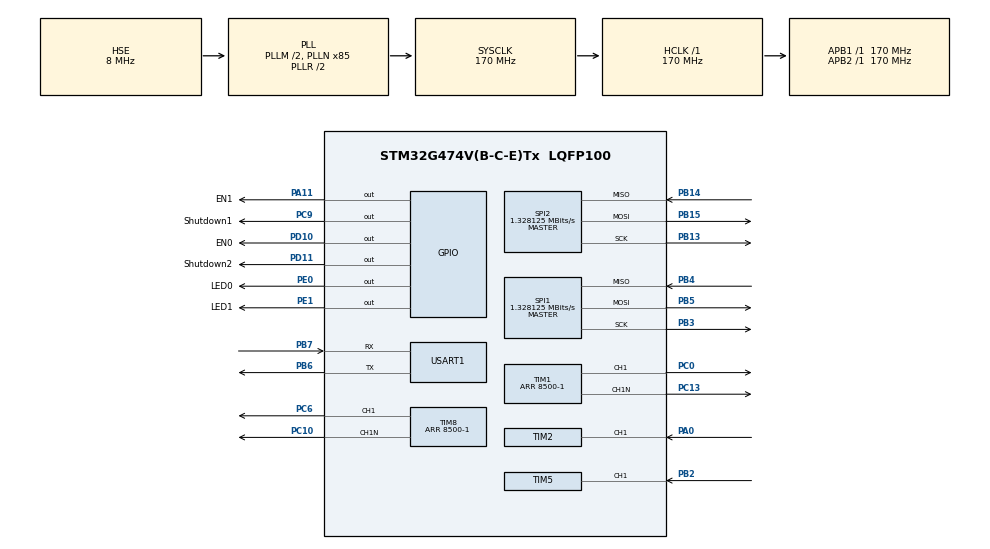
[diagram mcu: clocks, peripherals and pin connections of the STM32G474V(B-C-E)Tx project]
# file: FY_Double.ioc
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Dma.Request0=SPI1_TX
Dma.Request1=SPI1_RX
Dma.Request2=SPI2_TX
Dma.Request3=SPI2_RX
Dma.Request4=USART1_RX
Dma.Request5=USART1_TX
Dma.SPI1_RX.1.Direction=DMA_PERIPH_TO_MEMORY
Dma.SPI1_RX.1.EventEnable=DISABLE
Dma.SPI1_RX.1.Instance=DMA1_Channel2
Dma.SPI1_RX.1.MemDataAlignment=DMA_MDATAALIGN_BYTE
Dma.SPI1_RX.1.MemInc=DMA_MINC_ENABLE
Dma.SPI1_RX.1.Mode=DMA_NORMAL
Dma.SPI1_RX.1.PeriphDataAlignment=DMA_PDATAALIGN_BYTE
Dma.SPI1_RX.1.PeriphInc=DMA_PINC_DISABLE
Dma.SPI1_RX.1.Polarity=HAL_DMAMUX_REQ_GEN_RISING
Dma.SPI1_RX.1.Priority=DMA_PRIORITY_HIGH
Dma.SPI1_RX.1.RequestNumber=1
Dma.SPI1_RX.1.SignalID=NONE
Dma.SPI1_RX.1.SyncEnable=DISABLE
Dma.SPI1_RX.1.SyncPolarity=HAL_DMAMUX_SYNC_NO_EVENT
Dma.SPI1_RX.1.SyncRequestNumber=1
Dma.SPI1_RX.1.SyncSignalID=NONE
Dma.SPI1_TX.0.Direction=DMA_MEMORY_TO_PERIPH
Dma.SPI1_TX.0.EventEnable=DISABLE
Dma.SPI1_TX.0.Instance=DMA1_Channel1
Dma.SPI1_TX.0.MemDataAlignment=DMA_MDATAALIGN_BYTE
Dma.SPI1_TX.0.MemInc=DMA_MINC_ENABLE
Dma.SPI1_TX.0.Mode=DMA_NORMAL
Dma.SPI1_TX.0.PeriphDataAlignment=DMA_PDATAALIGN_BYTE
Dma.SPI1_TX.0.PeriphInc=DMA_PINC_DISABLE
Dma.SPI1_TX.0.Polarity=HAL_DMAMUX_REQ_GEN_RISING
Dma.SPI1_TX.0.Priority=DMA_PRIORITY_HIGH
Dma.SPI1_TX.0.RequestNumber=1
Dma.SPI1_TX.0.SignalID=NONE
Dma.SPI1_TX.0.SyncEnable=DISABLE
Dma.SPI1_TX.0.SyncPolarity=HAL_DMAMUX_SYNC_NO_EVENT
Dma.SPI1_TX.0.SyncRequestNumber=1
Dma.SPI1_TX.0.SyncSignalID=NONE
Dma.SPI2_RX.3.Direction=DMA_PERIPH_TO_MEMORY
Dma.SPI2_RX.3.EventEnable=DISABLE
Dma.SPI2_RX.3.Instance=DMA1_Channel4
Dma.SPI2_RX.3.MemDataAlignment=DMA_MDATAALIGN_BYTE
Dma.SPI2_RX.3.MemInc=DMA_MINC_ENABLE
Dma.SPI2_RX.3.Mode=DMA_NORMAL
Dma.SPI2_RX.3.PeriphDataAlignment=DMA_PDATAALIGN_BYTE
Dma.SPI2_RX.3.PeriphInc=DMA_PINC_DISABLE
Dma.SPI2_RX.3.Polarity=HAL_DMAMUX_REQ_GEN_RISING
Dma.SPI2_RX.3.Priority=DMA_PRIORITY_HIGH
Dma.SPI2_RX.3.RequestNumber=1
Dma.SPI2_RX.3.SignalID=NONE
Dma.SPI2_RX.3.SyncEnable=DISABLE
Dma.SPI2_RX.3.SyncPolarity=HAL_DMAMUX_SYNC_NO_EVENT
Dma.SPI2_RX.3.SyncRequestNumber=1
Dma.SPI2_RX.3.SyncSignalID=NONE
Dma.SPI2_TX.2.Direction=DMA_MEMORY_TO_PERIPH
Dma.SPI2_TX.2.EventEnable=DISABLE
Dma.SPI2_TX.2.Instance=DMA1_Channel3
Dma.SPI2_TX.2.MemDataAlignment=DMA_MDATAALIGN_BYTE
Dma.SPI2_TX.2.MemInc=DMA_MINC_ENABLE
Dma.SPI2_TX.2.Mode=DMA_NORMAL
Dma.SPI2_TX.2.PeriphDataAlignment=DMA_PDATAALIGN_BYTE
Dma.SPI2_TX.2.PeriphInc=DMA_PINC_DISABLE
Dma.SPI2_TX.2.Polarity=HAL_DMAMUX_REQ_GEN_RISING
Dma.SPI2_TX.2.Priority=DMA_PRIORITY_HIGH
Dma.SPI2_TX.2.RequestNumber=1
Dma.SPI2_TX.2.SignalID=NONE
Dma.SPI2_TX.2.SyncEnable=DISABLE
Dma.SPI2_TX.2.SyncPolarity=HAL_DMAMUX_SYNC_NO_EVENT
Dma.SPI2_TX.2.SyncRequestNumber=1
Dma.SPI2_TX.2.SyncSignalID=NONE
Dma.USART1_RX.4.Direction=DMA_PERIPH_TO_MEMORY
Dma.USART1_RX.4.EventEnable=DISABLE
Dma.USART1_RX.4.Instance=DMA1_Channel5
Dma.USART1_RX.4.MemDataAlignment=DMA_MDATAALIGN_BYTE
Dma.USART1_RX.4.MemInc=DMA_MINC_ENABLE
Dma.USART1_RX.4.Mode=DMA_NORMAL
Dma.USART1_RX.4.PeriphDataAlignment=DMA_PDATAALIGN_BYTE
Dma.USART1_RX.4.PeriphInc=DMA_PINC_DISABLE
Dma.USART1_RX.4.Polarity=HAL_DMAMUX_REQ_GEN_RISING
Dma.USART1_RX.4.Priority=DMA_PRIORITY_LOW
Dma.USART1_RX.4.RequestNumber=1
Dma.USART1_RX.4.SignalID=NONE
Dma.USART1_RX.4.SyncEnable=DISABLE
Dma.USART1_RX.4.SyncPolarity=HAL_DMAMUX_SYNC_NO_EVENT
Dma.USART1_RX.4.SyncRequestNumber=1
Dma.USART1_RX.4.SyncSignalID=NONE
Dma.USART1_TX.5.Direction=DMA_MEMORY_TO_PERIPH
Dma.USART1_TX.5.EventEnable=DISABLE
Dma.USART1_TX.5.Instance=DMA1_Channel6
Dma.USART1_TX.5.MemDataAlignment=DMA_MDATAALIGN_BYTE
Dma.USART1_TX.5.MemInc=DMA_MINC_ENABLE
Dma.USART1_TX.5.Mode=DMA_NORMAL
Dma.USART1_TX.5.PeriphDataAlignment=DMA_PDATAALIGN_BYTE
Dma.USART1_TX.5.PeriphInc=DMA_PINC_DISABLE
Dma.USART1_TX.5.Polarity=HAL_DMAMUX_REQ_GEN_RISING
Dma.USART1_TX.5.Priority=DMA_PRIORITY_LOW
Dma.USART1_TX.5.RequestNumber=1
Dma.USART1_TX.5.SignalID=NONE
Dma.USART1_TX.5.SyncEnable=DISABLE
Dma.USART1_TX.5.SyncPolarity=HAL_DMAMUX_SYNC_NO_EVENT
Dma.USART1_TX.5.SyncRequestNumber=1
Dma.USART1_TX.5.SyncSignalID=NONE
Mcu.Family=STM32G4
Mcu.Name=STM32G474V(B-C-E)Tx
Mcu.Package=LQFP100
NVIC.DMA1_Channel1_IRQn=true\:1\:0\:true\:false\:true\:false\:true\:true
NVIC.DMA1_Channel2_IRQn=true\:1\:0\:true\:false\:true\:false\:true\:true
NVIC.DMA1_Channel3_IRQn=true\:1\:0\:true\:false\:true\:false\:true\:true
NVIC.DMA1_Channel4_IRQn=true\:1\:0\:true\:false\:true\:false\:true\:true
NVIC.DMA1_Channel5_IRQn=true\:0\:0\:false\:false\:true\:false\:true\:true
NVIC.DMA1_Channel6_IRQn=true\:0\:0\:false\:false\:true\:false\:true\:true
NVIC.PriorityGroup=NVIC_PRIORITYGROUP_4
NVIC.TIM2_IRQn=true\:0\:0\:true\:false\:true\:true\:true\:true
NVIC.TIM3_IRQn=true\:2\:0\:true\:false\:true\:true\:true\:true
NVIC.TIM5_IRQn=true\:0\:0\:false\:false\:true\:true\:true\:true
NVIC.USART1_IRQn=true\:0\:0\:false\:false\:true\:true\:true\:true
PA0.Signal=S_TIM2_CH1
PA11.GPIO_Label=EN1
PA11.GPIO_Speed=GPIO_SPEED_FREQ_LOW
PA11.PinState=GPIO_PIN_RESET
PA11.Signal=GPIO_Output
PA13.Mode=Serial_Wire
PA13.Signal=SYS_JTMS-SWDIO
PA14.Mode=Serial_Wire
PA14.Signal=SYS_JTCK-SWCLK
PB13.Mode=Full_Duplex_Master
PB13.Signal=SPI2_SCK
PB14.Mode=Full_Duplex_Master
PB14.Signal=SPI2_MISO
PB15.Mode=Full_Duplex_Master
PB15.Signal=SPI2_MOSI
PB2.Signal=S_TIM5_CH1
PB3.GPIO_Speed=GPIO_SPEED_FREQ_LOW
PB3.Mode=Full_Duplex_Master
PB3.Signal=SPI1_SCK
PB4.GPIO_Speed=GPIO_SPEED_FREQ_LOW
PB4.Mode=Full_Duplex_Master
PB4.Signal=SPI1_MISO
PB5.GPIO_Speed=GPIO_SPEED_FREQ_LOW
PB5.Mode=Full_Duplex_Master
PB5.Signal=SPI1_MOSI
PB6.Mode=Asynchronous
PB6.Signal=USART1_TX
PB7.Mode=Asynchronous
PB7.Signal=USART1_RX
PC0.Signal=S_TIM1_CH1
PC10.Mode=PWM Generation1 CH1 CH1N
PC10.Signal=TIM8_CH1N
PC13.Mode=PWM Generation1 CH1 CH1N
PC13.Signal=TIM1_CH1N
PC6.Signal=S_TIM8_CH1
PC9.GPIO_Label=Shutdown1
PC9.Signal=GPIO_Output
PD10.GPIO_Label=EN0
PD10.GPIO_Speed=GPIO_SPEED_FREQ_LOW
PD10.PinState=GPIO_PIN_RESET
PD10.Signal=GPIO_Output
PD11.GPIO_Label=Shutdown2
PD11.Signal=GPIO_Output
PE0.GPIO_Label=LED0
PE0.PinState=GPIO_PIN_SET
PE0.Signal=GPIO_Output
PE1.GPIO_Label=LED1
PE1.PinState=GPIO_PIN_SET
PE1.Signal=GPIO_Output
PF0-OSC_IN.Mode=HSE-External-Oscillator
PF0-OSC_IN.Signal=RCC_OSC_IN
PF1-OSC_OUT.Mode=HSE-External-Oscillator
PF1-OSC_OUT.Signal=RCC_OSC_OUT
ProjectManager.HeapSize=0x200
ProjectManager.StackSize=0x400
ProjectManager.TargetToolchain=CMake
RCC.ADC12Freq_Value=170000000
RCC.ADC345Freq_Value=170000000
RCC.AHBFreq_Value=170000000
RCC.APB1Freq_Value=170000000
RCC.APB1TimFreq_Value=170000000
RCC.APB2Freq_Value=170000000
RCC.APB2TimFreq_Value=170000000
RCC.CortexFreq_Value=170000000
RCC.EXTERNAL_CLOCK_VALUE=12288000
RCC.HCLKFreq_Value=170000000
RCC.HSE_VALUE=8000000
RCC.HSI48_VALUE=48000000
RCC.HSI_VALUE=16000000
RCC.LSE_VALUE=32768
RCC.PLLM=RCC_PLLM_DIV2
RCC.PLLN=85
RCC.PLLSourceVirtual=RCC_PLLSOURCE_HSE
RCC.SYSCLKFreq_VALUE=170000000
RCC.SYSCLKSource=RCC_SYSCLKSOURCE_PLLCLK
RCC.USBFreq_Value=170000000
RCC.VCOOutputFreq_Value=340000000
SH.S_TIM1_CH1.0=TIM1_CH1,PWM Generation1 CH1 CH1N
SH.S_TIM2_CH1.0=TIM2_CH1,Input_Capture1_from_TI1
SH.S_TIM5_CH1.0=TIM5_CH1,Input_Capture1_from_TI1
SH.S_TIM8_CH1.0=TIM8_CH1,PWM Generation1 CH1 CH1N
SPI1.BaudRatePrescaler=SPI_BAUDRATEPRESCALER_128
SPI1.CLKPhase=SPI_PHASE_1EDGE
SPI1.CLKPolarity=SPI_POLARITY_HIGH
SPI1.CalculateBaudRate=1.328125 MBits/s
SPI1.DataSize=SPI_DATASIZE_8BIT
SPI1.Direction=SPI_DIRECTION_2LINES
SPI1.Mode=SPI_MODE_MASTER
SPI1.VirtualType=VM_MASTER
SPI2.BaudRatePrescaler=SPI_BAUDRATEPRESCALER_128
SPI2.CLKPhase=SPI_PHASE_1EDGE
SPI2.CLKPolarity=SPI_POLARITY_HIGH
SPI2.CalculateBaudRate=1.328125 MBits/s
SPI2.DataSize=SPI_DATASIZE_8BIT
SPI2.Direction=SPI_DIRECTION_2LINES
SPI2.Mode=SPI_MODE_MASTER
SPI2.VirtualType=VM_MASTER
TIM1.AutoReloadPreload=TIM_AUTORELOAD_PRELOAD_ENABLE
TIM1.BreakPolarity=TIM_BREAKPOLARITY_HIGH
TIM1.Channel-PWM\ Generation1\ CH1\ CH1N=TIM_CHANNEL_1
TIM1.DeadTime=15
TIM1.OCFastMode_PWM-PWM\ Generation1\ CH1\ CH1N=TIM_OCFAST_DISABLE
TIM1.OCIdleState_1=TIM_OCIDLESTATE_SET
TIM1.OCNIdleState_1=TIM_OCNIDLESTATE_SET
TIM1.OCNPolarity_1=TIM_OCNPOLARITY_LOW
TIM1.OCPolarity_1=TIM_OCPOLARITY_LOW
TIM1.OffStateRunMode=TIM_OSSR_ENABLE
TIM1.PeriodNoDither=8500-1
TIM2.Channel-Input_Capture1_from_TI1=TIM_CHANNEL_1
TIM2.CounterMode=TIM_COUNTERMODE_UP
TIM2.ICPolarity_CH1=TIM_INPUTCHANNELPOLARITY_RISING
TIM3.AutoReloadPreload=TIM_AUTORELOAD_PRELOAD_ENABLE
TIM3.PeriodNoDither=1000-1
TIM3.Prescaler=169
TIM5.Channel-Input_Capture1_from_TI1=TIM_CHANNEL_1
TIM8.AutoReloadPreload=TIM_AUTORELOAD_PRELOAD_ENABLE
TIM8.Channel-PWM\ Generation1\ CH1\ CH1N=TIM_CHANNEL_1
TIM8.DeadTime=0
TIM8.OCIdleState_1=TIM_OCIDLESTATE_RESET
TIM8.OCNIdleState_1=TIM_OCNIDLESTATE_RESET
TIM8.OCNPolarity_1=TIM_OCNPOLARITY_LOW
TIM8.OCPolarity_1=TIM_OCPOLARITY_LOW
TIM8.OffStateRunMode=TIM_OSSR_ENABLE
TIM8.PeriodNoDither=8500-1
USART1.VirtualMode-Asynchronous=VM_ASYNC
VP_SYS_VS_DBSignals.Mode=DisableDeadBatterySignals
VP_TIM1_VS_ClockSourceINT.Mode=Internal
VP_TIM2_VS_ClockSourceINT.Mode=Internal
VP_TIM3_VS_ClockSourceINT.Mode=Internal
VP_TIM5_VS_ClockSourceINT.Mode=Internal
VP_TIM8_VS_ClockSourceINT.Mode=Internal
board=custom

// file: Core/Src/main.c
/* USER CODE BEGIN Header */
/**
  ******************************************************************************
  * @file           : main.c
  * @brief          : Main program body
  ******************************************************************************
  * @attention
  *
  * Copyright (c) 2025 STMicroelectronics.
  * All rights reserved.
  *
  * This software is licensed under terms that can be found in the LICENSE file
  * in the root directory of this software component.
  * If no LICENSE file comes with this software, it is provided AS-IS.
  *
  ******************************************************************************
  */
/* USER CODE END Header */
#include "main.h"
#include "dma.h"
#include "spi.h"
#include "tim.h"
#include "usart.h"
#include "gpio.h"

/* USER CODE BEGIN Includes */
#include <stdlib.h>
#include <string.h>
#include "posUpdate.h"
#include "motor.h"
#include "pid.h"
#include "setpara.h"
#include "sweep.h"
/* USER CODE END Includes */

/* USER CODE BEGIN PTD */
typedef struct {
  float in_prev[3];
  float out_prev[3];
} pid_state_t;
/* USER CODE END PTD */

/* USER CODE BEGIN PV */

// 水平轴（motor_id = 1）
float current_angle_sp = 0.0f;
float current_speed_sp = 0.0f;
float given_sp = 180.0f;
float speed_given_sp = 0.0f;
float position_error_sp = 0.0f;

// 俯仰轴（motor_id = 0）
float current_angle_el = 75.0f;
float current_speed_el = 0.0f;
float given_el = 80.0f;
float speed_given_el = 0.0f;
float position_error_el = 0.0f;

//扫频用
float sweep_speed_set;
float sweep_freq_global = 0.5f;
uint8_t ctrl_mode = 0;

//图像用
int16_t pixel_error = 0;
static uint16_t position_counter = 0;
extern uint8_t g_run_flag;

// 控制器参数（双轴可拆分）
float speed_num[4], speed_den[4];
float pos_num[4], pos_den[4];
float speed_num_el[4], speed_den_el[4];
float pos_num_el[4], pos_den_el[4];

pid_state_t pos_pid_sp = {0}; // 水平轴位置环状态
pid_state_t pos_pid_el = {0}; // 俯仰轴位置环状态
pid_state_t spd_pid_sp = {0}; // 水平轴速度环状态
pid_state_t spd_pid_el = {0}; // 俯仰轴速度环状态
/* USER CODE END PV */

void SystemClock_Config(void);
/* USER CODE BEGIN PFP */
float get_signed_angle_error(float target_angle, float current_angle);
float speed_pid(float speed_error, pid_state_t* state, const float num[4], const float den[4]);
float position_pid(float error, pid_state_t* state, const float num[4], const float den[4]);

/* USER CODE END PFP */

int main(void)
{

  /* MCU Configuration--------------------------------------------------------*/

  /* Reset of all peripherals, Initializes the Flash interface and the Systick. */
  HAL_Init();

  /* Configure the system clock */
  SystemClock_Config();

  /* Initialize all configured peripherals */
  MX_GPIO_Init();
  MX_DMA_Init();
  MX_SPI1_Init();
  MX_USART1_UART_Init();
  MX_TIM1_Init();
  MX_TIM2_Init();
  MX_TIM3_Init();
  MX_TIM8_Init();
  MX_SPI2_Init();
  MX_TIM5_Init();
  /* USER CODE BEGIN 2 */
  motor_init();
  pid_init();
  set_speedpara(speed_num, speed_den);
  set_pospara(pos_num, pos_den);
  set_speedpara_fy(speed_num_el, speed_den_el);
  set_pospara_fy(pos_num_el, pos_den_el);
  HAL_TIM_Base_Start_IT(&htim3);
  HAL_TIM_IC_Start_IT(&htim5, TIM_CHANNEL_1);
  HAL_TIM_IC_Start_IT(&htim2, TIM_CHANNEL_1);
  /* USER CODE END 2 */

  /* Infinite loop */
  while (1)
  {

  }
}

void SystemClock_Config(void)
{
  RCC_OscInitTypeDef RCC_OscInitStruct = {0};
  RCC_ClkInitTypeDef RCC_ClkInitStruct = {0};

  /** Configure the main internal regulator output voltage
  */
  HAL_PWREx_ControlVoltageScaling(PWR_REGULATOR_VOLTAGE_SCALE1_BOOST);

  /** Initializes the RCC Oscillators according to the specified parameters
  * in the RCC_OscInitTypeDef structure.
  */
  RCC_OscInitStruct.OscillatorType = RCC_OSCILLATORTYPE_HSE;
  RCC_OscInitStruct.HSEState = RCC_HSE_ON;
  RCC_OscInitStruct.PLL.PLLState = RCC_PLL_ON;
  RCC_OscInitStruct.PLL.PLLSource = RCC_PLLSOURCE_HSE;
  RCC_OscInitStruct.PLL.PLLM = RCC_PLLM_DIV2;
  RCC_OscInitStruct.PLL.PLLN = 85;
  RCC_OscInitStruct.PLL.PLLP = RCC_PLLP_DIV2;
  RCC_OscInitStruct.PLL.PLLQ = RCC_PLLQ_DIV2;
  RCC_OscInitStruct.PLL.PLLR = RCC_PLLR_DIV2;
  if (HAL_RCC_OscConfig(&RCC_OscInitStruct) != HAL_OK)
  {
    Error_Handler();
  }

  /** Initializes the CPU, AHB and APB buses clocks
  */
  RCC_ClkInitStruct.ClockType = RCC_CLOCKTYPE_HCLK|RCC_CLOCKTYPE_SYSCLK
                              |RCC_CLOCKTYPE_PCLK1|RCC_CLOCKTYPE_PCLK2;
  RCC_ClkInitStruct.SYSCLKSource = RCC_SYSCLKSOURCE_PLLCLK;
  RCC_ClkInitStruct.AHBCLKDivider = RCC_SYSCLK_DIV1;
  RCC_ClkInitStruct.APB1CLKDivider = RCC_HCLK_DIV1;
  RCC_ClkInitStruct.APB2CLKDivider = RCC_HCLK_DIV1;

  if (HAL_RCC_ClockConfig(&RCC_ClkInitStruct, FLASH_LATENCY_4) != HAL_OK)
  {
    Error_Handler();
  }
}

/* USER CODE BEGIN 4 */

/**
  * @brief 获取带符号的角度误差
  * @param target_angle 目标角度
  * @param current_angle 当前角度
  * @return 带符号的角度误差（-180° ~ 180°）
  */
float get_signed_angle_error(const float target_angle, const float current_angle)
{
  float error = target_angle - current_angle;
  while (error > 180.0f) error -= 360.0f;
  while (error < -180.0f) error += 360.0f;
  return error;
}

/**
  * @brief 定时器3周期中断回调函数1000Hz
  *
  * 完成对于转台的所有控制逻辑,通过ctrl_mode切换扫频
  *
  */
void HAL_TIM_PeriodElapsedCallback(TIM_HandleTypeDef *htim)
{
  if (htim->Instance == TIM3) // 1000Hz
  {
    // 获取当前角度
    current_angle_sp = get_pos_x(&current_speed_sp);
    current_angle_el = get_pos_y(&current_speed_el);

    if (ctrl_mode == 0)
    {
      position_counter++;
      if (position_counter >= 20) // 50Hz
      {
        position_counter = 0;
        if (abs(pixel_error) > 5)
        {
          const float correction = 0.002f * (float)pixel_error;
          given_sp += correction;
        }
      }
      // 水平轴控制
      position_error_sp = get_signed_angle_error(given_sp, current_angle_sp);
      speed_given_sp = position_pid(position_error_sp,&pos_pid_sp, pos_num, pos_den);
      const float pidOut_sp = speed_pid((speed_given_sp - current_speed_sp), &spd_pid_sp, speed_num, speed_den);
      motor_pwm_set(1, pidOut_sp); // motor_id=1: 水平
      // 俯仰轴控制
      position_error_el = get_signed_angle_error(given_el, current_angle_el);
      speed_given_el = position_pid(position_error_el, &pos_pid_el, pos_num, pos_den);
      const float pidOut_el = speed_pid((speed_given_el - current_speed_el), &spd_pid_el, speed_num_el, speed_den_el);
      motor_pwm_set(0, pidOut_el); // motor_id=0: 俯仰
    }

    if (ctrl_mode == 1)
    {
      sweep_function(0, sweep_freq_global, 20.0f, 2000,
                    30);
    }
  }
}

/**
  * @brief 位置环PID控制器
  * @param error 输入误差
  * @param state PID状态结构体
  * @param num 传递函数分子系数
  * @param den 传递函数分母系数
  * @return PID输出值
  */
float position_pid(const float error, pid_state_t* state, const float num[4], const float den[4])
{
  const float in = error;
  const float out =
      num[0] * in +
      num[1] * state->in_prev[0] +
      num[2] * state->in_prev[1] +
      num[3] * state->in_prev[2] +
      den[1] * state->out_prev[0] +
      den[2] * state->out_prev[1] +
      den[3] * state->out_prev[2];

  // 更新历史
  state->in_prev[2] = state->in_prev[1];
  state->in_prev[1] = state->in_prev[0];
  state->in_prev[0] = in;

  state->out_prev[2] = state->out_prev[1];
  state->out_prev[1] = state->out_prev[0];
  state->out_prev[0] = out;

  return out;
}

/**
  * @brief 速度环PID控制器
  * @param speed_error 速度误差
  * @param state PID状态结构体
  * @param num 传递函数分子系数
  * @param den 传递函数分母系数
  * @return PID输出值（限幅后）
  */
float speed_pid(const float speed_error, pid_state_t* state, const float num[4], const float den[4])
{
  const float in = speed_error;
  float out =
      num[0] * in +
      num[1] * state->in_prev[0] +
      num[2] * state->in_prev[1] +
      num[3] * state->in_prev[2] +
      den[1] * state->out_prev[0] +
      den[2] * state->out_prev[1] +
      den[3] * state->out_prev[2];

  // 输出限幅（±8400  对应PWM）
  if (out > 8400.0f) out = 8400.0f;
  if (out < -8400.0f) out = -8400.0f;

  // 更新历史
  state->in_prev[2] = state->in_prev[1];
  state->in_prev[1] = state->in_prev[0];
  state->in_prev[0] = in;

  state->out_prev[2] = state->out_prev[1];
  state->out_prev[1] = state->out_prev[0];
  state->out_prev[0] = out;

  return out;
}

/* USER CODE END 4 */

void Error_Handler(void)
{
  __disable_irq();
  while (1)
  {
  }
}
